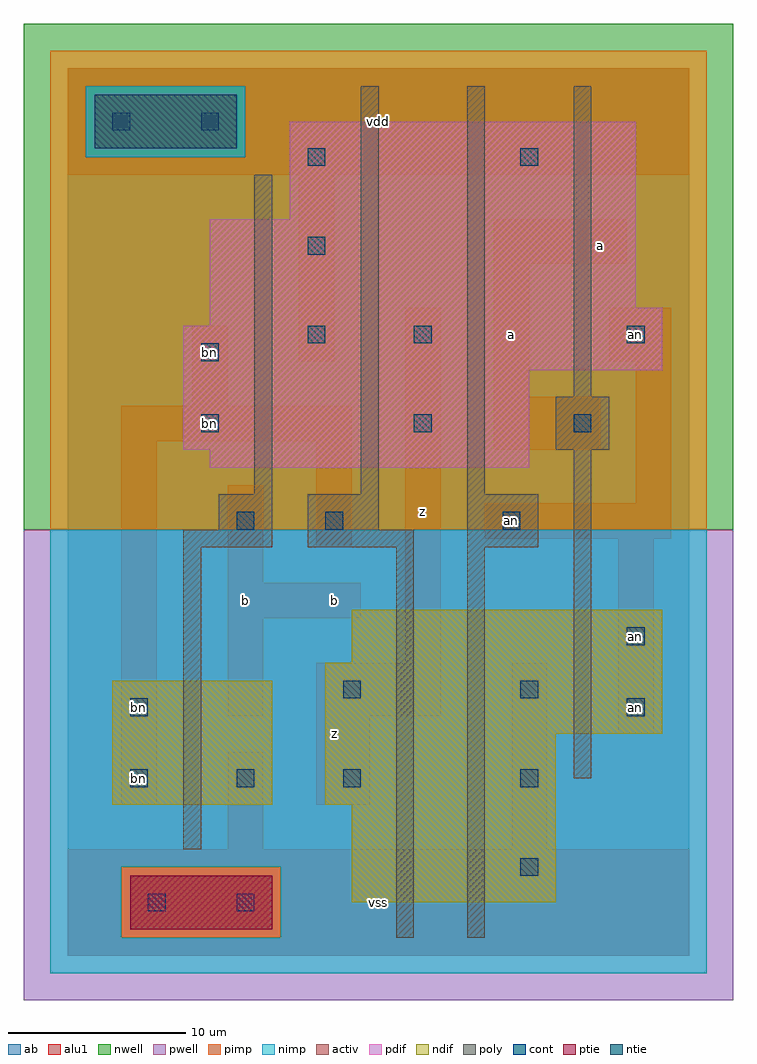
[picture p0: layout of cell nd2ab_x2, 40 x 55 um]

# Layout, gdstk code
import gdstk
lib = gdstk.Library(unit=1e-6, precision=1e-09)
def R(c, l, rs):  # rectangles x0, y0, x1, y1
    for r in rs: c.add(gdstk.rectangle(r[:2], r[2:], *l))
def A(c, l, x, y, w, h, nx, ny, dx, dy):  # array of equal rectangles
    R(c, l, [(x+i*dx, y+j*dy, x+i*dx+w, y+j*dy+h) for i in range(nx) for j in range(ny)])
ndif = (3, 0)
pdif = (4, 0)
ntie = (5, 0)
ptie = (6, 0)
cont = (25, 0)
pwell = (41, 0)
nwell = (42, 0)
activ = (43, 0)
pimp = (44, 0)
nimp = (45, 0)
poly = (46, 0)
alu1 = (49, 0)
ab = (63, 0)

nd2ab_x2 = lib.new_cell('nd2ab_x2')
R(nd2ab_x2, ndif, [(16,3,27.5,8.5), (2.5,8.5,11.5,15.5), (14.5,8.5,27.5,12.5), (14.5,12.5,33.5,16.5), (16,16.5,33.5,19.5)])
R(nd2ab_x2, pdif, [(8,27.5,26,28.5), (6.5,28.5,26,33), (6.5,33,33.5,35.5), (8,35.5,33.5,36.5), (8,36.5,32,41.5), (12.5,41.5,32,47)])
R(nd2ab_x2, ntie, [(1.5,45.5,9.5,48.5)])
R(nd2ab_x2, ptie, [(3.5,1.5,11.5,4.5)])
A(nd2ab_x2, cont, 25.5, 4.5, 1, 1, 1, 3, 0, 5)
A(nd2ab_x2, cont, 3.5, 9.5, 1, 1, 3, 1, 6, 0)
A(nd2ab_x2, cont, 13.5, 34.5, 1, 1, 1, 3, 0, 5)
R(nd2ab_x2, cont, [(4.5,2.5,5.5,3.5), (9.5,2.5,10.5,3.5), (3.5,13.5,4.5,14.5), (31.5,13.5,32.5,14.5), (15.5,14.5,16.5,15.5), (31.5,17.5,32.5,18.5), (9.5,24,10.5,25), (14.5,24,15.5,25), (24.5,24,25.5,25), (7.5,29.5,8.5,30.5), (19.5,29.5,20.5,30.5), (28.5,29.5,29.5,30.5), (7.5,33.5,8.5,34.5), (19.5,34.5,20.5,35.5), (31.5,34.5,32.5,35.5), (25.5,44.5,26.5,45.5), (2.5,46.5,3.5,47.5), (7.5,46.5,8.5,47.5)])
R(nd2ab_x2, pwell, [(-2.5,-2.5,37.5,24)])
R(nd2ab_x2, nwell, [(-2.5,24,37.5,52.5)])
R(nd2ab_x2, activ, [(3.5,1.5,11.5,4.5), (16,3,27.5,8.5), (2.5,8.5,11.5,15.5), (14.5,8.5,27.5,12.5), (14.5,12.5,33.5,16.5), (16,16.5,33.5,19.5), (8,27.5,26,28.5), (6.5,28.5,26,33), (6.5,33,33.5,35.5), (8,35.5,33.5,36.5), (8,36.5,32,41.5), (12.5,41.5,32,47), (1.5,45.5,9.5,48.5)])
R(nd2ab_x2, pimp, [(3,1,12,5), (-1,24,36,45), (-1,45,1,49), (10,45,36,49), (-1,49,36,51)])
R(nd2ab_x2, nimp, [(-1,-1,36,1), (-1,1,3,5), (12,1,36,5), (-1,5,36,24), (1,45,10,49)])
R(nd2ab_x2, poly, [(18.5,1,19.5,23), (22.5,1,23.5,23), (6.5,6,7.5,23), (28.5,10,29.5,28.5), (6.5,23,11.5,24), (13.5,23,19.5,24), (22.5,23,26.5,26), (8.5,24,11.5,26), (13.5,24,17.5,26), (10.5,26,11.5,44), (16.5,26,17.5,49), (22.5,26,23.5,49), (27.5,28.5,30.5,31.5), (28.5,31.5,29.5,49)])
R(nd2ab_x2, alu1, [(0,0,35,6), (0,0,35,6), (9,6,11,11.5), (9,6,11,11.5), (25,6,27,16.5), (25,6,27,16.5), (3,8.5,5,29), (3,8.5,5,29), (14,8.5,17,13.5), (14,8.5,17,13.5), (31,12.5,33,23.5), (31,12.5,33,23.5), (9,13.5,11,19), (9,13.5,11,19), (14,13.5,21,16.5), (14,13.5,21,16.5), (19,16.5,21,36.5), (19,16.5,21,36.5), (9,19,16.5,21), (9,19,16.5,21), (9,21,11,26.5), (9,21,11,26.5), (14,23,16,29), (14,23,16,29), (23.5,23.5,34,25.5), (23.5,23.5,34,25.5), (32,25.5,34,33.5), (32,25.5,34,33.5), (24,28.5,30,31.5), (24,28.5,30,31.5), (3,29,16,31), (3,29,16,31), (7,31,9,35.5), (7,31,9,35.5), (24,31.5,26,39), (24,31.5,26,39), (13,33.5,15,44), (13,33.5,15,44), (30.5,33.5,34,36.5), (30.5,33.5,34,36.5), (24,39,31.5,41.5), (24,39,31.5,41.5), (0,44,35,50), (0,44,35,50)])
R(nd2ab_x2, ab, [(0,0,35,50)])
nd2ab_x2.add(gdstk.Label('bn', (4,10), layer=49, texttype=0))
nd2ab_x2.add(gdstk.Label('bn', (4,14), layer=49, texttype=0))
nd2ab_x2.add(gdstk.Label('bn', (8,34), layer=49, texttype=0))
nd2ab_x2.add(gdstk.Label('bn', (8,30), layer=49, texttype=0))
nd2ab_x2.add(gdstk.Label('an', (32,14), layer=49, texttype=0))
nd2ab_x2.add(gdstk.Label('an', (32,18), layer=49, texttype=0))
nd2ab_x2.add(gdstk.Label('an', (25,24.5), layer=49, texttype=0))
nd2ab_x2.add(gdstk.Label('an', (32,35), layer=49, texttype=0))
nd2ab_x2.add(gdstk.Label('z', (15,12.5), layer=49, texttype=0))
nd2ab_x2.add(gdstk.Label('b', (10,20), layer=49, texttype=0))
nd2ab_x2.add(gdstk.Label('b', (15,20), layer=49, texttype=0))
nd2ab_x2.add(gdstk.Label('vss', (17.5,3), layer=49, texttype=0))
nd2ab_x2.add(gdstk.Label('z', (20,25), layer=49, texttype=0))
nd2ab_x2.add(gdstk.Label('a', (25,35), layer=49, texttype=0))
nd2ab_x2.add(gdstk.Label('vdd', (17.5,47), layer=49, texttype=0))
nd2ab_x2.add(gdstk.Label('a', (30,40), layer=49, texttype=0))

lib.write_gds('nd2ab_x2.gds')
